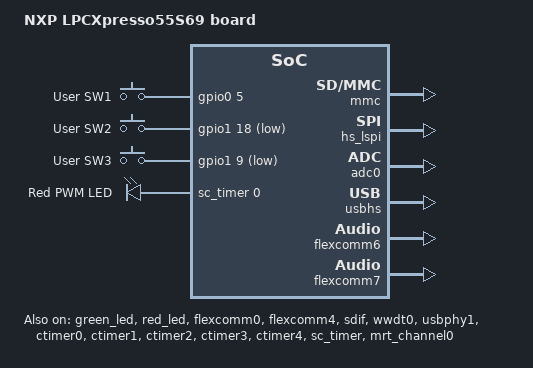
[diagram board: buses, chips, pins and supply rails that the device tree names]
/*
 * Copyright 2019,2024 NXP
 *
 * SPDX-License-Identifier: Apache-2.0
 */

/dts-v1/;

#include <nxp/nxp_lpc55S6x.dtsi>
#include "lpcxpresso55s69.dtsi"
#include <zephyr/dt-bindings/pwm/pwm.h>
#include <zephyr/dt-bindings/input/input-event-codes.h>

/ {
	model = "NXP LPCXpresso55S69 board";
	compatible = "nxp,lpc55xxx", "nxp,lpc";

	cpus {
		/delete-node/ cpu@1;
	};

	aliases{
		sw0 = &user_button_1;
		sw1 = &user_button_2;
		sw2 = &user_button_3;
		watchdog0 = &wwdt0;
		/* For pwm test suites */
		pwm-0 = &sc_timer;
		pwm-led0 = &red_pwm_led;
		red-pwm-led = &red_pwm_led;
		sdhc0 = &sdhc0;
		accel0 = &mma8652fc;
		sdhc0 = &sdif;
	};

	chosen {
		zephyr,sram = &sram0;
		zephyr,flash = &flash0;
		zephyr,code-partition = &slot0_partition;
		zephyr,uart-mcumgr = &flexcomm0;
		zephyr,code-cpu1-partition = &slot0_ns_partition;
		zephyr,sram-cpu1-partition = &sram3;
		zephyr,console = &flexcomm0;
		zephyr,shell-uart = &flexcomm0;
		zephyr,entropy = &rng;
	};

	gpio_keys {
		compatible = "gpio-keys";
		user_button_1: button_0 {
			label = "User SW1";
			gpios = <&gpio0 5 (GPIO_ACTIVE_HIGH | GPIO_PULL_UP)>;
			zephyr,code = <INPUT_KEY_0>;
		};
		user_button_2: button_1 {
			label = "User SW2";
			gpios = <&gpio1 18 (GPIO_ACTIVE_LOW | GPIO_PULL_UP)>;
			zephyr,code = <INPUT_KEY_1>;
		};
		user_button_3: button_2 {
			label = "User SW3";
			gpios = <&gpio1 9 (GPIO_ACTIVE_LOW | GPIO_PULL_UP)>;
			zephyr,code = <INPUT_KEY_2>;
		};
	};

	pwmleds {
		compatible = "pwm-leds";
		red_pwm_led: red_pwm_led {
			pwms = <&sc_timer 0 PWM_MSEC(20) PWM_POLARITY_NORMAL>;
			label = "Red PWM LED";
			status = "okay";
		};
	};
};

/*
 * Default for this board is to allocate SRAM0-2 to cpu0 but the
 * application can have an application specific device tree to
 * allocate the SRAM0-4 differently.
 *
 * For example, SRAM0-3 could be allocated to cpu0 with only SRAM4
 * for cpu1. This would require the zephyr,sram chosen value for cpu1
 * to be changed to sram4 and the value of sram0 to have a DT_SIZE_K
 * of 256.
 *
 */
&sram0 {
	compatible = "mmio-sram";
	reg = <0x20000000 DT_SIZE_K(192)>;
};

&gpio0 {
	status = "okay";
};

&gpio1 {
	status = "okay";
};

&green_led {
	status = "okay";
};

&red_led {
	status = "okay";
};

&flexcomm0 {
	status = "okay";
};

&flexcomm4 {
	status = "okay";
};

&sdif {
	status = "okay";
	pinctrl-0 = <&pinmux_sdif_default>;
	pinctrl-names = "default";
	mmc {
		compatible = "zephyr,sdmmc-disk";
		status = "okay";
	};
};

&hs_lspi {
	status = "okay";
	cs-gpios = <&gpio1 1 GPIO_ACTIVE_LOW>;
};

&wwdt0 {
	status = "okay";
};

&adc0 {
	status = "okay";
	pinctrl-0 = <&pinmux_lpadc0>;
	pinctrl-names = "default";
};

&mailbox0 {
	status = "okay";
};

&usbfs {
	pinctrl-0 = <&pinmux_usbfs>;
	pinctrl-names = "default";
};

zephyr_udc0: &usbhs {
	status = "okay";
	phy_handle = <&usbphy1>;
};

&usbphy1 {
	status = "okay";
	tx-d-cal = <5>;
	tx-cal-45-dp-ohms = <10>;
	tx-cal-45-dm-ohms = <10>;
};

&ctimer0 {
	status = "okay";
};

&ctimer1 {
	status = "okay";
};

&ctimer2 {
	status = "okay";
};

&ctimer3 {
	status = "okay";
};

&ctimer4 {
	status = "okay";
};

/* I2S receive channel */
i2s0: &flexcomm6 {
	status = "okay";
	compatible = "nxp,lpc-i2s";
	#address-cells = <1>;
	#size-cells = <0>;
};

/* I2S transmit channel */
i2s1: &flexcomm7 {
	status = "okay";
	compatible = "nxp,lpc-i2s";
	#address-cells = <1>;
	#size-cells = <0>;
};

&sc_timer {
	status = "okay";
};

&dma0 {
	status = "okay";
};

&dma1 {
	status = "okay";
};

&mrt_channel0 {
	status = "okay";
};
